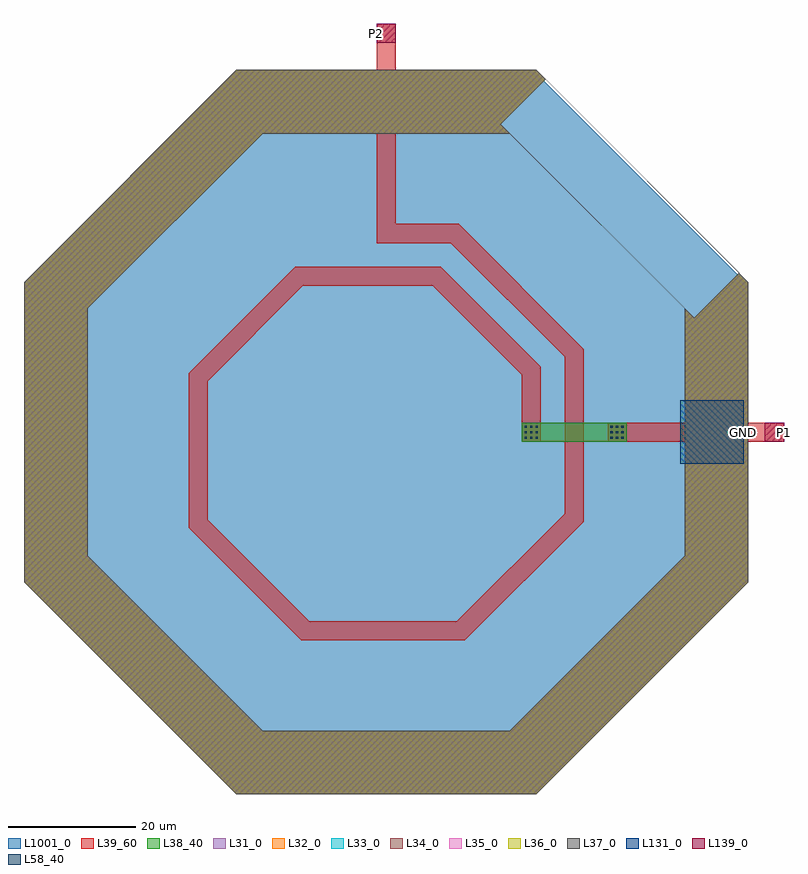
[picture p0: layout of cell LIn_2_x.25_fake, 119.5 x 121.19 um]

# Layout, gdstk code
import gdstk
lib = gdstk.Library(unit=1e-6, precision=1e-09)
def R(c, l, rs):  # rectangles x0, y0, x1, y1
    for r in rs: c.add(gdstk.rectangle(r[:2], r[2:], *l))
def A(c, l, x, y, w, h, nx, ny, dx, dy):  # array of equal rectangles
    R(c, l, [(x+i*dx, y+j*dy, x+i*dx+w, y+j*dy+h) for i in range(nx) for j in range(ny)])
def P(c, l, *ps):  # polygons
    for p in ps: c.add(gdstk.Polygon(p, *l))
L31_0 = (31, 0)
L32_0 = (32, 0)
L33_0 = (33, 0)
L34_0 = (34, 0)
L35_0 = (35, 0)
L36_0 = (36, 0)
L37_0 = (37, 0)
L38_40 = (38, 40)
L39_60 = (39, 60)
L58_40 = (58, 40)
L131_0 = (131, 0)
L139_0 = (139, 0)
L1001_0 = (1001, 0)

lin_2_x_25_fake = lib.new_cell('LIn_2_x.25_fake')
P(lin_2_x_25_fake, L31_0, [(48.417,17.984),(55.488,25.055),(23.59,56.952),(-23.59,56.952),(-56.952,23.59),(-56.952,-23.59),(-23.59,-56.952),(23.59,-56.952),(56.952,-23.59),(56.952,23.59),(25.055,55.488),(17.984,48.417),(46.952,19.448),(46.952,-19.448),(19.448,-46.952),(-19.448,-46.952),(-46.952,-19.448),(-46.952,19.448),(-19.448,46.952),(19.448,46.952)])
P(lin_2_x_25_fake, L32_0, [(48.417,17.984),(55.488,25.055),(23.59,56.952),(-23.59,56.952),(-56.952,23.59),(-56.952,-23.59),(-23.59,-56.952),(23.59,-56.952),(56.952,-23.59),(56.952,23.59),(25.055,55.488),(17.984,48.417),(46.952,19.448),(46.952,-19.448),(19.448,-46.952),(-19.448,-46.952),(-46.952,-19.448),(-46.952,19.448),(-19.448,46.952),(19.448,46.952)])
P(lin_2_x_25_fake, L33_0, [(48.417,17.984),(55.488,25.055),(23.59,56.952),(-23.59,56.952),(-56.952,23.59),(-56.952,-23.59),(-23.59,-56.952),(23.59,-56.952),(56.952,-23.59),(56.952,23.59),(25.055,55.488),(17.984,48.417),(46.952,19.448),(46.952,-19.448),(19.448,-46.952),(-19.448,-46.952),(-46.952,-19.448),(-46.952,19.448),(-19.448,46.952),(19.448,46.952)])
P(lin_2_x_25_fake, L34_0, [(48.417,17.984),(55.488,25.055),(23.59,56.952),(-23.59,56.952),(-56.952,23.59),(-56.952,-23.59),(-23.59,-56.952),(23.59,-56.952),(56.952,-23.59),(56.952,23.59),(25.055,55.488),(17.984,48.417),(46.952,19.448),(46.952,-19.448),(19.448,-46.952),(-19.448,-46.952),(-46.952,-19.448),(-46.952,19.448),(-19.448,46.952),(19.448,46.952)])
P(lin_2_x_25_fake, L35_0, [(48.417,17.984),(55.488,25.055),(23.59,56.952),(-23.59,56.952),(-56.952,23.59),(-56.952,-23.59),(-23.59,-56.952),(23.59,-56.952),(56.952,-23.59),(56.952,23.59),(25.055,55.488),(17.984,48.417),(46.952,19.448),(46.952,-19.448),(19.448,-46.952),(-19.448,-46.952),(-46.952,-19.448),(-46.952,19.448),(-19.448,46.952),(19.448,46.952)])
P(lin_2_x_25_fake, L36_0, [(48.417,17.984),(55.488,25.055),(23.59,56.952),(-23.59,56.952),(-56.952,23.59),(-56.952,-23.59),(-23.59,-56.952),(23.59,-56.952),(56.952,-23.59),(56.952,23.59),(25.055,55.488),(17.984,48.417),(46.952,19.448),(46.952,-19.448),(19.448,-46.952),(-19.448,-46.952),(-46.952,-19.448),(-46.952,19.448),(-19.448,46.952),(19.448,46.952)])
P(lin_2_x_25_fake, L37_0, [(48.417,17.984),(55.488,25.055),(23.59,56.952),(-23.59,56.952),(-56.952,23.59),(-56.952,-23.59),(-23.59,-56.952),(23.59,-56.952),(56.952,-23.59),(56.952,23.59),(25.055,55.488),(17.984,48.417),(46.952,19.448),(46.952,-19.448),(19.448,-46.952),(-19.448,-46.952),(-46.952,-19.448),(-46.952,19.448),(-19.448,46.952),(19.448,46.952)])
R(lin_2_x_25_fake, L38_40, [(21.295,-1.5,37.795,1.5)])
P(lin_2_x_25_fake, L38_40, [(48.417,17.984),(55.488,25.055),(23.59,56.952),(-23.59,56.952),(-56.952,23.59),(-56.952,-23.59),(-23.59,-56.952),(23.59,-56.952),(56.952,-23.59),(56.952,23.59),(25.055,55.488),(17.984,48.417),(46.952,19.448),(46.952,-19.448),(19.448,-46.952),(-19.448,-46.952),(-46.952,-19.448),(-46.952,19.448),(-19.448,46.952),(19.448,46.952)])
R(lin_2_x_25_fake, L39_60, [(34.795,-1.5,62.545,1.5), (-1.5,29.735,1.5,64.235)])
P(lin_2_x_25_fake, L39_60, [(21.295,-1.5),(24.295,-1.5),(24.295,10.266),(8.581,25.985),(-14.341,25.985),(-31.045,9.281),(-31.045,-15.041),(-13.351,-32.735),(12.366,-32.735),(31.045,-14.051),(31.045,13.066),(11.376,32.735),(0,32.735),(0,29.735),(10.134,29.735),(28.045,11.824),(28.045,-12.809),(11.124,-29.735),(-12.109,-29.735),(-28.045,-13.799),(-28.045,8.039),(-13.099,22.985),(7.339,22.985),(21.295,9.024)],
  [(48.417,17.984),(55.488,25.055),(23.59,56.952),(-23.59,56.952),(-56.952,23.59),(-56.952,-23.59),(-23.59,-56.952),(23.59,-56.952),(56.952,-23.59),(56.952,23.59),(25.055,55.488),(17.984,48.417),(46.952,19.448),(46.952,-19.448),(19.448,-46.952),(-19.448,-46.952),(-46.952,-19.448),(-46.952,19.448),(-19.448,46.952),(19.448,46.952)])
A(lin_2_x_25_fake, L58_40, 21.75, -1.045, 0.35, 0.35, 3, 3, 0.87, 0.87)
A(lin_2_x_25_fake, L58_40, 35.25, -1.045, 0.35, 0.35, 3, 3, 0.87, 0.87)
R(lin_2_x_25_fake, L131_0, [(46.235,-5,56.235,5)])
R(lin_2_x_25_fake, L139_0, [(59.545,-1.5,62.545,1.5), (-1.5,61.235,1.5,64.235)])
P(lin_2_x_25_fake, L1001_0, [(56.572,23.433),(23.433,56.572),(-23.433,56.572),(-56.572,23.433),(-56.572,-23.433),(-23.433,-56.572),(23.433,-56.572),(56.572,-23.433)],
  [(56.572,23.433),(23.433,56.572),(-23.433,56.572),(-56.572,23.433),(-56.572,-23.433),(-23.433,-56.572),(23.433,-56.572),(56.572,-23.433)],
  [(56.572,23.433),(23.433,56.572),(-23.433,56.572),(-56.572,23.433),(-56.572,-23.433),(-23.433,-56.572),(23.433,-56.572),(56.572,-23.433)],
  [(56.572,23.433),(23.433,56.572),(-23.433,56.572),(-56.572,23.433),(-56.572,-23.433),(-23.433,-56.572),(23.433,-56.572),(56.572,-23.433)],
  [(56.572,23.433),(23.433,56.572),(-23.433,56.572),(-56.572,23.433),(-56.572,-23.433),(-23.433,-56.572),(23.433,-56.572),(56.572,-23.433)],
  [(56.572,23.433),(23.433,56.572),(-23.433,56.572),(-56.572,23.433),(-56.572,-23.433),(-23.433,-56.572),(23.433,-56.572),(56.572,-23.433)],
  [(56.572,23.433),(23.433,56.572),(-23.433,56.572),(-56.572,23.433),(-56.572,-23.433),(-23.433,-56.572),(23.433,-56.572),(56.572,-23.433)],
  [(56.572,23.433),(23.433,56.572),(-23.433,56.572),(-56.572,23.433),(-56.572,-23.433),(-23.433,-56.572),(23.433,-56.572),(56.572,-23.433)],
  [(56.572,23.433),(23.433,56.572),(-23.433,56.572),(-56.572,23.433),(-56.572,-23.433),(-23.433,-56.572),(23.433,-56.572),(56.572,-23.433)])
lin_2_x_25_fake.add(gdstk.Label('P1', (62.545,0), layer=139, texttype=0))
lin_2_x_25_fake.add(gdstk.Label('P2', (-1.5,62.733), layer=139, texttype=0))
lin_2_x_25_fake.add(gdstk.Label('GND', (56.233,0), layer=131, texttype=0))

lib.write_gds('LIn_2_x.25_fake.gds')
